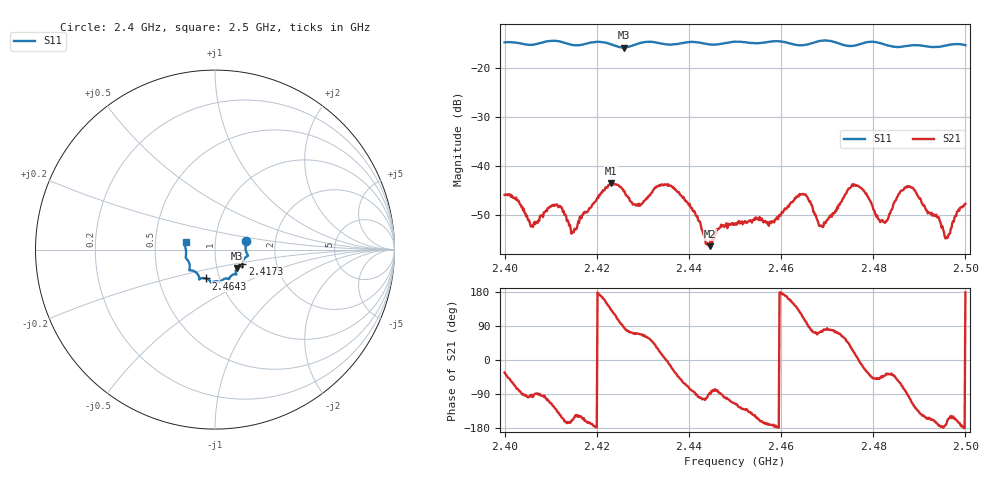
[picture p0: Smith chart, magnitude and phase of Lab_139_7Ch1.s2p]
# Hz S RI R 50
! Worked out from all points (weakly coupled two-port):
!   601 points, 2.4 GHz to 2.5 GHz, reference 50 ohm
!   highest |S21| = -43.47 dB at 2.4232 GHz (marker M1); lowest = -56.2 dB at 2.4445 GHz (marker M2)
!   lowest |S11| = -15.9 dB at 2.4258 GHz (marker M3), VSWR 1.38, Z = 62.3 - j13.2 ohm
!   |S11| at or under -10 dB: start of sweep to end of sweep
!   S12 and S22 are empty: the file has one direction only
!   S11 on the Smith chart (normalised r, x): 2.4 GHz: 1.41, +0.14; 2.4173 GHz: 1.34, -0.23; 2.4643 GHz: 0.86, -0.28; 2.5 GHz: 0.72, +0.06
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2.4e9  0.1734 0.0494  0.00429 -0.00279  0 0  0 0
2.405833e9  0.1706 0.00396  -6.84e-05 -0.00246  0 0  0 0
2.410833e9  0.1838 -0.0343  -0.00239 -0.00329  0 0  0 0
2.414833e9  0.1603 -0.054  -0.00199 -0.000835  0 0  0 0
2.416667e9  0.153 -0.0745  -0.00257 -0.00147  0 0  0 0
2.417333e9  0.1523 -0.0819  -0.00315 -0.00113  0 0  0 0
2.423167e9  0.144 -0.0935  -0.00444 0.00502  0 0  0 0
2.425833e9  0.1218 -0.1034  0.000336 0.00556  0 0  0 0
2.429e9  0.116 -0.1312  0.0014 0.0037  0 0  0 0
2.433333e9  0.113 -0.1371  0.00551 0.00296  0 0  0 0
2.438333e9  0.0819 -0.1559  0.00305 -0.004  0 0  0 0
2.4445e9  0.0597 -0.161  7.21e-05 -0.00154  0 0  0 0
2.45e9  0.0293 -0.1808  -0.00108 -0.00231  0 0  0 0
2.457833e9  -0.018 -0.1829  -0.00261 -0.000364  0 0  0 0
2.464333e9  -0.0498 -0.1606  -0.00275 0.00436  0 0  0 0
2.466667e9  -0.0759 -0.1597  0.000788 0.00397  0 0  0 0
2.468833e9  -0.0872 -0.166  0.00067 0.00235  0 0  0 0
2.476e9  -0.1161 -0.12  0.0062 0.00187  0 0  0 0
2.483333e9  -0.1407 -0.0899  0.0024 -0.00186  0 0  0 0
2.488167e9  -0.1603 -0.05  -0.00174 -0.00584  0 0  0 0
2.496e9  -0.1672 0.0195  -0.00184 -0.000528  0 0  0 0
2.5e9  -0.1636 0.0423  -0.00416 0.000108  0 0  0 0
